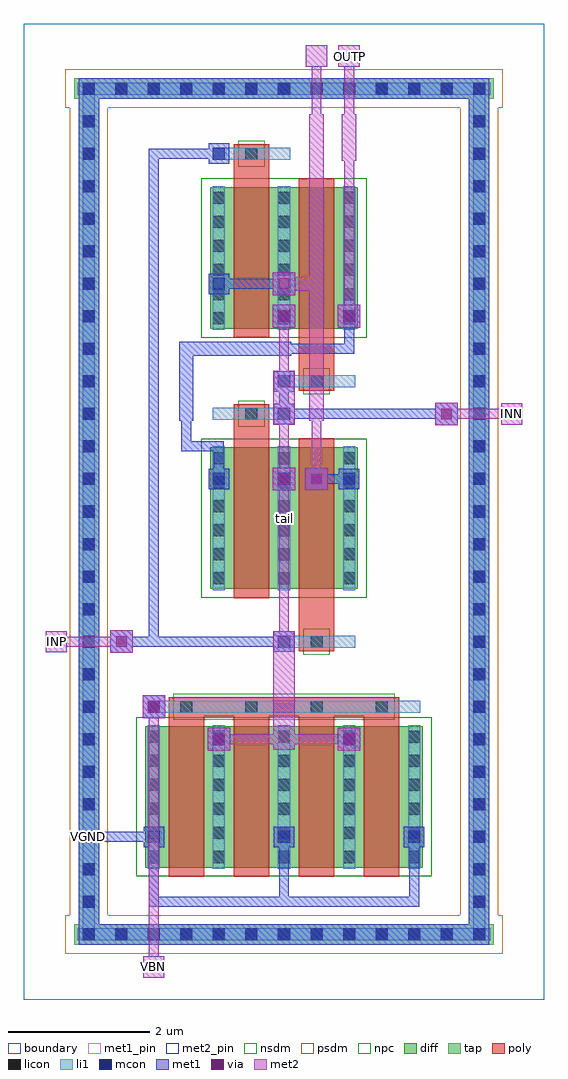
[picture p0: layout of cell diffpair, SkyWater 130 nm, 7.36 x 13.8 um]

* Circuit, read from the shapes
.subckt diffpair INN INP OUTN OUTP VBN VGND tail
XM1 tail VBN VGND VGND sky130_fd_pr__nfet_01v8 w=2 l=0.5 m=4
XM2 tail INN OUTP VGND sky130_fd_pr__nfet_01v8 w=2 l=0.5 m=2
XM3 tail INP OUTN VGND sky130_fd_pr__nfet_01v8 w=2 l=0.5 m=2
.ends

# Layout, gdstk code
import gdstk
lib = gdstk.Library(unit=1e-6, precision=1e-09)
def R(c, l, rs):  # rectangles x0, y0, x1, y1
    for r in rs: c.add(gdstk.rectangle(r[:2], r[2:], *l))
def A(c, l, x, y, w, h, nx, ny, dx, dy):  # array of equal rectangles
    R(c, l, [(x+i*dx, y+j*dy, x+i*dx+w, y+j*dy+h) for i in range(nx) for j in range(ny)])
diff = (65, 20)
tap = (65, 44)
poly = (66, 20)
licon = (66, 44)
li1 = (67, 20)
mcon = (67, 44)
met1_pin = (68, 16)
met1 = (68, 20)
via = (68, 44)
met2_pin = (69, 16)
met2 = (69, 20)
nsdm = (93, 44)
psdm = (94, 20)
npc = (95, 20)
boundary = (235, 4)

diffpair = lib.new_cell('diffpair')
R(diffpair, diff, [(1.715,1.865,5.645,3.865), (2.635,5.805,4.725,7.805), (2.635,9.485,4.725,11.485)])
R(diffpair, tap, [(0.715,0.775,6.645,1.065), (0.775,0.775,1.065,13.025), (6.295,0.775,6.585,13.025), (0.715,12.735,6.645,13.025)])
A(diffpair, poly, 2.05, 1.735, 0.5, 2.405, 4, 1, 0.92, 0)
R(diffpair, poly, [(2.05,4.005,5.31,4.275), (3.89,4.925,4.39,5.195), (3.89,5.06,4.39,7.935), (2.97,5.675,3.47,8.28), (2.97,8.145,3.47,8.415), (3.89,8.605,4.39,8.875), (3.89,8.74,4.39,11.615), (2.97,9.355,3.47,11.96), (2.97,11.825,3.47,12.095)])
A(diffpair, licon, 0.835, 0.835, 0.17, 0.17, 13, 2, 0.46, 11.96)
A(diffpair, licon, 0.835, 1.295, 0.17, 0.17, 1, 25, 0, 0.46)
A(diffpair, licon, 6.355, 1.295, 0.17, 0.17, 1, 25, 0, 0.46)
A(diffpair, licon, 1.755, 1.93, 0.17, 0.17, 5, 6, 0.92, 0.34)
A(diffpair, licon, 2.215, 4.055, 0.17, 0.17, 4, 1, 0.92, 0)
A(diffpair, licon, 2.675, 5.87, 0.17, 0.17, 3, 6, 0.92, 0.34)
A(diffpair, licon, 2.675, 9.55, 0.17, 0.17, 3, 6, 0.92, 0.34)
R(diffpair, licon, [(4.055,4.975,4.225,5.145), (3.135,8.195,3.305,8.365), (4.055,8.655,4.225,8.825), (3.135,11.875,3.305,12.045)])
A(diffpair, li1, 1.755, 1.85, 0.17, 2.03, 5, 1, 0.92, 0)
A(diffpair, li1, 2.675, 5.79, 0.17, 2.03, 3, 2, 0.92, 3.68)
R(diffpair, li1, [(0.755,0.835,6.605,1.005), (0.835,0.835,1.005,12.965), (6.355,0.835,6.525,12.965), (1.755,4.055,5.605,4.225), (3.595,4.975,4.685,5.145), (2.675,8.195,3.765,8.365), (3.595,8.655,4.685,8.825), (2.675,11.875,3.765,12.045), (0.755,12.795,6.605,12.965)])
A(diffpair, mcon, 0.835, 0.835, 0.17, 0.17, 13, 2, 0.46, 11.96)
A(diffpair, mcon, 0.835, 1.295, 0.17, 0.17, 1, 5, 0, 0.46)
A(diffpair, mcon, 6.355, 1.295, 0.17, 0.17, 1, 5, 0, 0.46)
A(diffpair, mcon, 1.755, 2.215, 0.17, 0.17, 3, 1, 1.84, 0)
A(diffpair, mcon, 0.835, 3.595, 0.17, 0.17, 4, 1, 1.84, 0)
A(diffpair, mcon, 0.835, 4.975, 0.17, 0.17, 3, 2, 2.76, 3.22)
A(diffpair, mcon, 0.835, 5.435, 0.17, 0.17, 1, 6, 0, 0.46)
A(diffpair, mcon, 6.355, 5.435, 0.17, 0.17, 1, 6, 0, 0.46)
A(diffpair, mcon, 2.675, 7.275, 0.17, 0.17, 3, 1, 0.92, 0)
A(diffpair, mcon, 0.835, 8.655, 0.17, 0.17, 3, 1, 2.76, 0)
A(diffpair, mcon, 0.835, 9.115, 0.17, 0.17, 1, 8, 0, 0.46)
A(diffpair, mcon, 6.355, 9.115, 0.17, 0.17, 1, 8, 0, 0.46)
R(diffpair, mcon, [(0.835,4.055,1.005,4.225), (1.755,4.055,1.925,4.225), (6.355,4.055,6.525,4.225), (0.835,4.515,1.005,4.685), (6.355,4.515,6.525,4.685), (3.595,9.575,3.765,9.745), (4.515,9.575,4.685,9.745), (2.675,10.035,2.845,10.205), (2.675,11.875,2.845,12.045)])
R(diffpair, met1_pin, [(0.85,2.23,0.99,2.37)])
A(diffpair, met1, 1.77, 1.31, 0.14, 1.06, 3, 1, 1.84, 0)
A(diffpair, met1, 1.695, 2.155, 0.29, 0.29, 3, 1, 1.84, 0)
A(diffpair, met1, 2.615, 7.215, 0.29, 0.29, 3, 1, 0.92, 0)
R(diffpair, met1, [(0.775,0.775,6.585,1.065), (0.775,0.775,1.065,13.025), (6.295,0.775,6.585,13.025), (1.77,1.31,3.75,1.45), (3.61,1.31,5.59,1.45), (0.85,2.23,1.91,2.37), (0.85,2.23,0.99,2.37), (0.85,2.23,0.99,12.95), (2.6,3.52,2.92,3.84), (4.44,3.52,4.76,3.84), (2.615,3.535,2.905,3.825), (4.455,3.535,4.745,3.825), (1.68,3.98,2,4.3), (1.695,3.995,1.985,4.285), (1.22,4.9,1.54,5.22), (3.535,4.915,3.825,5.205), (1.31,4.99,3.75,5.13), (1.77,4.99,1.91,12.03), (3.52,7.2,3.84,7.52), (3.98,7.2,4.3,7.52), (2.69,7.29,2.83,7.89), (4.07,7.29,4.67,7.43), (2.23,7.75,2.37,8.35), (2.23,7.75,2.83,7.89), (5.82,8.12,6.14,8.44), (3.535,8.135,3.825,8.425), (2.2,8.18,2.4,9.3), (3.61,8.21,3.75,8.81), (3.61,8.21,6.05,8.35), (3.535,8.595,3.825,8.885), (2.2,9.1,3.78,9.3), (3.61,9.13,4.67,9.27), (4.53,9.13,4.67,9.73), (3.52,9.5,3.84,9.82), (4.44,9.5,4.76,9.82), (3.535,9.515,3.825,9.805), (4.455,9.515,4.745,9.805), (3.52,9.96,3.84,10.28), (2.615,9.975,2.905,10.265), (2.69,10.05,3.75,10.19), (2.615,11.815,2.905,12.105), (1.77,11.89,2.83,12.03), (0.775,12.735,6.585,13.025), (0.85,12.81,0.99,12.95)])
R(diffpair, via, [(2.685,3.605,2.835,3.755), (4.525,3.605,4.675,3.755), (1.765,4.065,1.915,4.215), (1.305,4.985,1.455,5.135), (3.605,7.285,3.755,7.435), (4.065,7.285,4.215,7.435), (5.905,8.205,6.055,8.355), (3.605,9.585,3.755,9.735), (4.525,9.585,4.675,9.735), (3.605,10.045,3.755,10.195)])
R(diffpair, met2_pin, [(1.69,0.31,1.99,0.61), (0.31,4.91,0.61,5.21), (6.75,8.13,7.05,8.43), (3.99,13.19,4.29,13.49), (4.45,13.19,4.75,13.49)])
R(diffpair, met2, [(1.69,0.31,1.99,0.61), (1.77,0.39,1.91,0.53), (1.77,0.39,1.91,4.21), (2.6,3.52,2.92,3.84), (4.44,3.52,4.76,3.84), (3.53,3.53,3.83,5.21), (2.69,3.61,3.75,3.75), (3.61,3.61,4.67,3.75), (1.68,3.98,2,4.3), (1.22,4.9,1.54,5.22), (0.31,4.91,0.61,5.21), (0.39,4.99,1.45,5.13), (0.39,4.99,0.53,5.13), (3.61,4.99,3.75,7.43), (3.52,7.2,3.84,7.52), (3.98,7.2,4.3,7.52), (3.61,7.29,3.75,8.35), (4.07,7.29,4.21,8.35), (5.82,8.12,6.14,8.44), (3.53,8.13,3.83,8.89), (6.75,8.13,7.05,8.43), (4.04,8.18,4.24,10.22), (5.91,8.21,6.97,8.35), (6.83,8.21,6.97,8.35), (3.61,8.67,3.75,9.73), (3.52,9.5,3.84,9.82), (4.44,9.5,4.76,9.82), (4.53,9.59,4.67,12.03), (3.52,9.96,3.84,10.28), (3.58,10.02,4.24,10.22), (4.04,10.02,4.24,12.52), (4.5,11.86,4.7,12.52), (4.07,12.35,4.21,13.41), (4.53,12.35,4.67,13.41), (3.99,13.19,4.29,13.49), (4.45,13.19,4.75,13.49), (4.07,13.27,4.21,13.41), (4.53,13.27,4.67,13.41)])
R(diffpair, nsdm, [(1.59,1.74,5.77,3.99), (2.51,5.68,4.85,7.93), (2.51,9.36,4.85,11.61)])
R(diffpair, psdm, [(0.59,0.65,6.77,1.19), (0.65,1.19,1.19,12.61), (6.17,1.19,6.71,12.61), (0.59,12.61,6.77,13.15)])
R(diffpair, npc, [(2.115,3.955,5.245,4.325), (3.955,4.875,4.325,5.245), (3.035,8.095,3.405,8.465), (3.955,8.555,4.325,8.925), (3.035,11.775,3.405,12.145)])
R(diffpair, boundary, [(0,0,7.36,13.8)])
diffpair.add(gdstk.Label('tail', (3.68,6.805), layer=67, texttype=5))
diffpair.add(gdstk.Label('VGND', (0.92,2.3), layer=68, texttype=5))
diffpair.add(gdstk.Label('INP', (0.46,5.06), layer=69, texttype=5))
diffpair.add(gdstk.Label('INN', (6.9,8.28), layer=69, texttype=5))
diffpair.add(gdstk.Label('VBN', (1.84,0.46), layer=69, texttype=5))
diffpair.add(gdstk.Label('OUTP', (4.6,13.34), layer=69, texttype=5))
diffpair.add(gdstk.Label('OUTN', (4.14,13.34), layer=69, texttype=5))
diffpair.add(gdstk.Label('VGND', (0.92,2.3), layer=68, texttype=16))
diffpair.add(gdstk.Label('INP', (0.46,5.06), layer=69, texttype=16))
diffpair.add(gdstk.Label('INN', (6.9,8.28), layer=69, texttype=16))
diffpair.add(gdstk.Label('VBN', (1.84,0.46), layer=69, texttype=16))
diffpair.add(gdstk.Label('OUTP', (4.6,13.34), layer=69, texttype=16))
diffpair.add(gdstk.Label('OUTN', (4.14,13.34), layer=69, texttype=16))

lib.write_gds('diffpair.gds')
